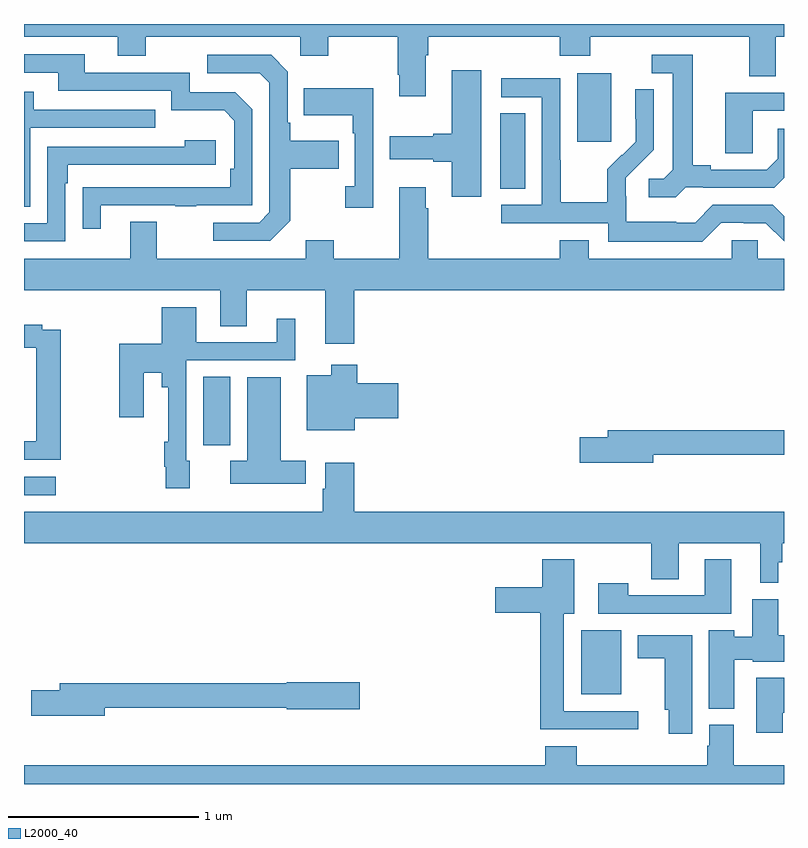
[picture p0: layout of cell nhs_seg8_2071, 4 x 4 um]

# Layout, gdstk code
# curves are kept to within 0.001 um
import gdstk
lib = gdstk.Library(unit=1e-6, precision=1e-09)
def R(c, l, rs):  # rectangles x0, y0, x1, y1
    for r in rs: c.add(gdstk.rectangle(r[:2], r[2:], *l))
def P(c, l, *ps):  # polygons
    for p in ps: c.add(gdstk.Polygon(p, *l))
L2000_40 = (2000, 40)

nhs_seg8_2071 = lib.new_cell('nhs_seg8_2071')
R(nhs_seg8_2071, L2000_40, [(243.932,1114.373,244.144,1114.708), (241,1115.421,241.168,1115.517), (241.943,1115.683,242.086,1116.044), (243.506,1117.033,243.637,1117.43), (243.911,1117.281,244.09,1117.642)])
P(nhs_seg8_2071, L2000_40, [(243.115,1117.736),(243.128,1117.736),(243.128,1117.832),(243.821,1117.832),(243.821,1117.733),(243.981,1117.733),(243.981,1117.832),(244.817,1117.832),(244.817,1117.624),(244.957,1117.624),(244.957,1117.832),(245,1117.832),(245,1117.9),(241,1117.9),(241,1117.832),(241.493,1117.832),(241.493,1117.733),(241.641,1117.733),(241.641,1117.832),(242.454,1117.832),(242.454,1117.733),(242.601,1117.733),(242.601,1117.832),(242.968,1117.832),(242.968,1117.633),(242.975,1117.633),(242.975,1117.521),(243.115,1117.521)],
  [(241.405,1116.945),(241.795,1116.945),(241.795,1116.94),(241.907,1116.94),(241.907,1116.945),(242.202,1116.945),(242.202,1117.452),(242.112,1117.542),(241.872,1117.542),(241.872,1117.644),(241.321,1117.644),(241.321,1117.74),(241,1117.74),(241,1117.644),(241.181,1117.644),(241.181,1117.548),(241.776,1117.548),(241.776,1117.445),(242.053,1117.445),(242.106,1117.392),(242.106,1117.138),(242.086,1117.138),(242.086,1117.041),(241.309,1117.04),(241.309,1116.822),(241.405,1116.822)],
  [(244.482,1117.041),(244.576,1117.041),(244.576,1117.038),(244.948,1117.038),(245,1117.09),(245,1117.348),(244.967,1117.348),(244.967,1117.191),(244.91,1117.134),(244.615,1117.134),(244.615,1117.157),(244.519,1117.157),(244.519,1117.737),(244.305,1117.737),(244.305,1117.641),(244.415,1117.641),(244.415,1117.133),(244.368,1117.086),(244.287,1117.086),(244.287,1116.989),(244.43,1116.989)],
  [(242.401,1116.865),(242.401,1117.138),(242.657,1117.138),(242.657,1117.285),(242.401,1117.285),(242.401,1117.381),(242.388,1117.381),(242.388,1117.65),(242.301,1117.737),(241.965,1117.737),(241.965,1117.641),(242.241,1117.641),(242.292,1117.59),(242.292,1116.909),(242.238,1116.855),(241.995,1116.855),(241.995,1116.759),(242.295,1116.759)],
  [(243.406,1117.657),(243.251,1117.657),(243.251,1117.322),(243.155,1117.322),(243.155,1117.309),(242.925,1117.309),(242.925,1117.187),(243.155,1117.187),(243.155,1117.175),(243.251,1117.175),(243.251,1116.99),(243.406,1116.99)],
  [(244.671,1116.855),(244.787,1116.855),(244.787,1116.852),(244.905,1116.852),(245,1116.757),(245,1116.889),(244.941,1116.948),(244.626,1116.948),(244.533,1116.855),(244.433,1116.855),(244.433,1116.859),(244.17,1116.859),(244.17,1116.993),(244.168,1116.993),(244.168,1117.09),(244.314,1117.238),(244.314,1117.556),(244.218,1117.556),(244.218,1117.402),(244.22,1117.402),(244.22,1117.28),(244.149,1117.209),(244.146,1117.212),(244.069,1117.135),(244.069,1116.961),(243.825,1116.961),(243.825,1117.184),(243.822,1117.184),(243.822,1117.614),(243.513,1117.614),(243.513,1117.515),(243.726,1117.515),(243.726,1116.948),(243.513,1116.948),(243.513,1116.852),(244.074,1116.852),(244.074,1116.755),(244.571,1116.755)],
  [(242.838,1117.561),(242.473,1117.561),(242.473,1117.421),(242.73,1117.421),(242.73,1117.325),(242.742,1117.325),(242.742,1117.046),(242.691,1117.046),(242.691,1116.933),(242.838,1116.933)],
  [(241.032,1117.353),(241.691,1117.353),(241.691,1117.449),(241.051,1117.449),(241.051,1117.543),(241,1117.543),(241,1116.937),(241.032,1116.937)],
  [(244.836,1117.443),(245,1117.443),(245,1117.539),(244.691,1117.539),(244.691,1117.219),(244.836,1117.219)],
  [(241.218,1117.061),(241.231,1117.061),(241.231,1117.158),(242.008,1117.158),(242.008,1117.288),(241.847,1117.288),(241.847,1117.254),(241.122,1117.254),(241.122,1116.852),(241,1116.852),(241,1116.756),(241.218,1116.756)],
  [(242.033,1116.31),(242.173,1116.31),(242.173,1116.5),(242.585,1116.5),(242.585,1116.216),(242.738,1116.216),(242.738,1116.5),(245,1116.5),(245,1116.664),(244.863,1116.664),(244.863,1116.762),(244.725,1116.762),(244.725,1116.664),(243.973,1116.664),(243.973,1116.763),(243.821,1116.763),(243.821,1116.664),(243.128,1116.664),(243.128,1116.929),(243.115,1116.929),(243.115,1117.042),(242.975,1117.042),(242.975,1116.664),(242.631,1116.664),(242.631,1116.763),(242.483,1116.763),(242.483,1116.664),(241.699,1116.664),(241.699,1116.859),(241.559,1116.859),(241.559,1116.664),(241,1116.664),(241,1116.5),(242.033,1116.5)],
  [(241.873,1115.601),(241.854,1115.601),(241.854,1116.129),(242.428,1116.129),(242.428,1116.349),(242.33,1116.349),(242.33,1116.225),(241.906,1116.225),(241.906,1116.409),(241.724,1116.409),(241.724,1116.217),(241.501,1116.217),(241.501,1115.829),(241.63,1115.829),(241.63,1116.065),(241.724,1116.065),(241.724,1115.987),(241.758,1115.987),(241.758,1115.701),(241.738,1115.701),(241.738,1115.569),(241.746,1115.569),(241.746,1115.457),(241.873,1115.457)],
  [(241.194,1116.291),(241.095,1116.291),(241.095,1116.316),(241,1116.316),(241,1116.195),(241.064,1116.195),(241.064,1115.703),(241,1115.703),(241,1115.607),(241.194,1115.607)],
  [(242.74,1115.825),(242.971,1115.825),(242.971,1116.008),(242.753,1116.008),(242.753,1116.106),(242.618,1116.106),(242.618,1116.052),(242.489,1116.052),(242.489,1115.762),(242.74,1115.762)],
  [(242.482,1115.602),(242.35,1115.602),(242.35,1116.04),(242.174,1116.04),(242.174,1115.602),(242.086,1115.602),(242.086,1115.48),(242.482,1115.48)],
  [(244.312,1115.634),(245,1115.634),(245,1115.762),(244.073,1115.762),(244.073,1115.726),(243.924,1115.726),(243.924,1115.591),(244.312,1115.591)],
  [(244.971,1115.067),(244.991,1115.067),(244.991,1115.168),(245,1115.168),(245,1115.332),(242.738,1115.332),(242.738,1115.59),(242.585,1115.59),(242.585,1115.453),(242.573,1115.453),(242.573,1115.332),(241,1115.332),(241,1115.168),(244.3,1115.168),(244.3,1114.978),(244.447,1114.978),(244.447,1115.168),(244.874,1115.168),(244.874,1114.958),(244.971,1114.958)],
  [(244.723,1115.083),(244.583,1115.083),(244.583,1114.893),(244.179,1114.893),(244.179,1114.957),(244.023,1114.957),(244.023,1114.797),(244.723,1114.797)],
  [(244.234,1114.284),(243.841,1114.284),(243.841,1114.796),(243.895,1114.796),(243.895,1115.083),(243.728,1115.083),(243.728,1114.936),(243.48,1114.936),(243.48,1114.802),(243.716,1114.802),(243.716,1114.187),(244.234,1114.187)],
  [(244.738,1114.553),(244.836,1114.553),(244.836,1114.544),(245,1114.544),(245,1114.682),(244.969,1114.682),(244.969,1114.873),(244.832,1114.873),(244.832,1114.675),(244.738,1114.675),(244.738,1114.708),(244.604,1114.708),(244.604,1114.297),(244.738,1114.297)],
  [(244.516,1114.684),(244.229,1114.684),(244.229,1114.562),(244.373,1114.562),(244.373,1114.29),(244.394,1114.29),(244.394,1114.164),(244.516,1114.164)],
  [(244.993,1114.275),(245,1114.275),(245,1114.459),(244.853,1114.459),(244.853,1114.17),(244.993,1114.17)],
  [(241.426,1114.302),(242.382,1114.302),(242.382,1114.294),(242.767,1114.294),(242.767,1114.436),(242.382,1114.436),(242.382,1114.43),(241.187,1114.43),(241.187,1114.394),(241.038,1114.394),(241.038,1114.259),(241.426,1114.259)],
  [(241,1113.9),(245,1113.9),(245,1114),(244.735,1114),(244.735,1114.212),(244.607,1114.212),(244.607,1114.101),(244.595,1114.101),(244.595,1114),(243.908,1114),(243.908,1114.099),(243.743,1114.099),(243.743,1114),(241,1114)])

lib.write_gds('nhs_seg8_2071.gds')
